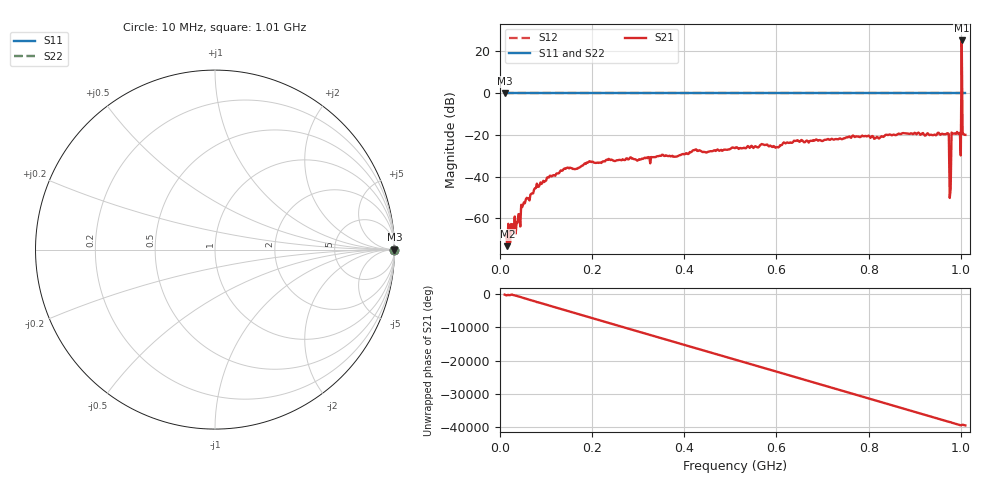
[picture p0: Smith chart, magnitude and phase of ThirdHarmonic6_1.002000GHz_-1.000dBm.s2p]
! 8/16/2025 8:06:58 AM
! C:\ANRITSUVNA\TEMP\TEMP.S2P
! CHANNEL.1
! TR.MEASUREMENT
! RAW.DATA
! RF.CORRECTION.OFF
! AVERAGING.OFF
! IF.BANDWIDTH: 5KHZ
! SWEEPTYPE:  FREQ.SWEEP(Linear)
! Reference Plane Port Info
! PORT:  PORT1  PORT2
! DISTANCE:  0  m  0  m
! TIME:  0  s  0  s
! PHASE.OFFSET:  0  deg.  0  deg.
! LOSS:  0  dB  0  dB
! REF.LOSS:  0  dB  0  dB
! REF.FREQ:  0  Hz  0  Hz
! Power Info
! POWER:  -20  dBm  -20  dBm
! EFF.POWER:  -20  dBm  -20  dBm
! SOURCE.ATTEN:  0  dB  0  dB
! TEST.ATTEN:  0  dB  0  dB
# GHZ S RI R 50.0
! FREQ.GHZ  S11RE  S11IM  S21RE  S21IM  S12RE  S12IM  S22RE  S22IM
!; PortSelection: Port_12
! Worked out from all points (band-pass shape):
!   501 points, 10 MHz to 1.01 GHz, reference 50 ohm
!   highest |S21| = 25.24 dB at 1.002 GHz (marker M1); lowest = -73.4 dB at 16 MHz (marker M2)
!   |S21| within 3 dB of the highest: 1.001891 GHz to 1.002134 GHz (242.6 kHz wide, 0.0242 % of centre)
!   lowest |S11| = 0.0 dB at 10 MHz (marker M3)
!   |S11| at or under -10 dB: nowhere
!   |S22| runs from 0.0 to 0.0 dB; largest |S21 - S12| = 18
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0.01  1 0  -0.000235 -0.000312  1 0  1 0
0.016  1 0  -2.69e-05 0.000213  1 0  1 0
0.04  1 0  0.000962 0.000814  1 0  1 0
0.05  1 0  0.00207 -0.000331  1 0  1 0
0.078  1 0  0.000916 -0.00523  1 0  1 0
0.142  1 0  -0.0145 -0.00497  1 0  1 0
0.178  1 0  -0.018 -0.00248  1 0  1 0
0.344  1 0  0.0292 -0.00999  1 0  1 0
0.51  1 0  -0.0418 0.0237  1 0  1 0
0.678  1 0  -0.0474 -0.0535  1 0  1 0
0.844  1 0  0.0981 0.0243  1 0  1 0
0.97  1 0  0.0921 -0.0581  1 0  1 0
0.974  1 0  -0.1004 0.0292  1 0  1 0
0.98  1 0  0.0238 -0.111  1 0  1 0
0.984  1 0  -0.0541 0.0922  1 0  1 0
0.994  1 0  0.0274 0.1036  1 0  1 0
0.996  1 0  0.107 -0.00762  1 0  1 0
0.998  1 0  0.0117 -0.1115  1 0  1 0
1.002  1 0  9.022 -15.9  1 0  1 0
1.006  1 0  0.0615 -0.0855  1 0  1 0
1.008  1 0  -0.0681 -0.0735  1 0  1 0
1.01  1 0  -0.0859 0.051  1 0  1 0
